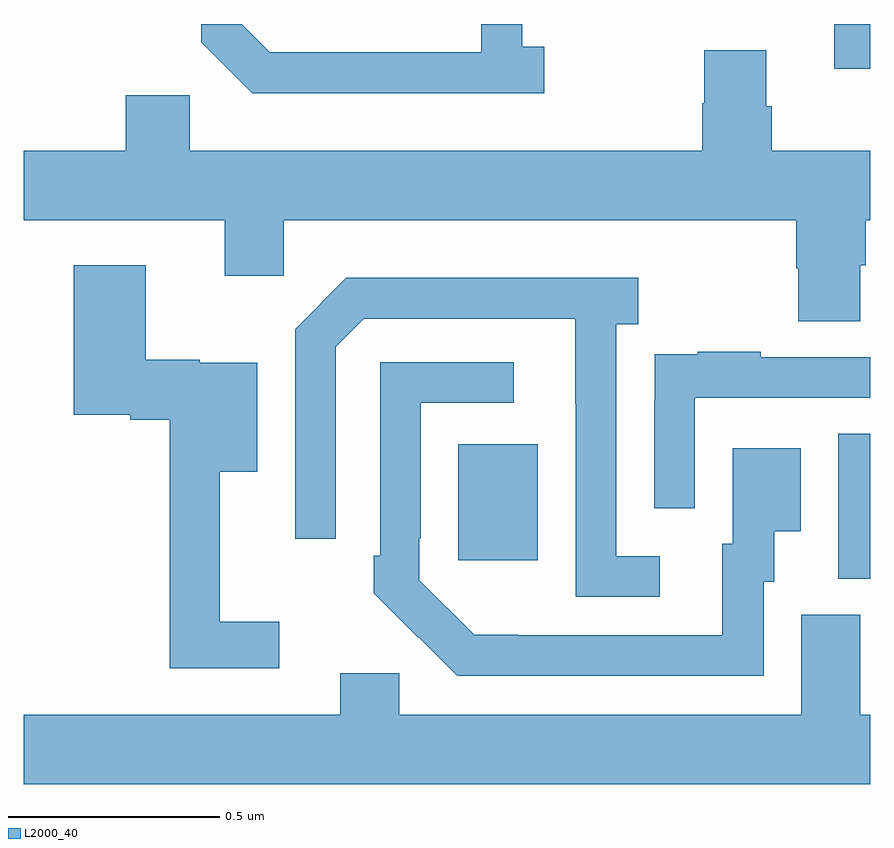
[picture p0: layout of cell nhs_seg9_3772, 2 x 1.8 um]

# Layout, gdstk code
import gdstk
lib = gdstk.Library(unit=1e-6, precision=1e-09)
def R(c, l, rs):  # rectangles x0, y0, x1, y1
    for r in rs: c.add(gdstk.rectangle(r[:2], r[2:], *l))
def P(c, l, *ps):  # polygons
    for p in ps: c.add(gdstk.Polygon(p, *l))
L2000_40 = (2000, 40)

nhs_seg9_3772 = lib.new_cell('nhs_seg9_3772')
R(nhs_seg9_3772, L2000_40, [(158.924,1246.189,159,1246.532), (158.027,1246.233,158.215,1246.507), (158.915,1247.394,159,1247.5)])
P(nhs_seg9_3772, L2000_40, [(158.23,1247.446),(158.178,1247.446),(158.178,1247.5),(158.081,1247.5),(158.081,1247.433),(157.581,1247.433),(157.515,1247.499),(157.515,1247.5),(157.419,1247.5),(157.419,1247.457),(157.54,1247.336),(158.23,1247.336)],
  [(158.977,1246.93),(158.99,1246.93),(158.99,1247.036),(159,1247.036),(159,1247.2),(158.768,1247.2),(158.768,1247.306),(158.755,1247.306),(158.755,1247.438),(158.608,1247.438),(158.608,1247.313),(158.603,1247.313),(158.603,1247.2),(157.392,1247.2),(157.392,1247.332),(157.241,1247.332),(157.241,1247.2),(157,1247.2),(157,1247.036),(157.475,1247.036),(157.475,1246.905),(157.614,1246.905),(157.614,1247.036),(158.825,1247.036),(158.825,1246.923),(158.83,1246.923),(158.83,1246.798),(158.977,1246.798)],
  [(157.603,1246.087),(157.463,1246.087),(157.463,1246.442),(157.552,1246.442),(157.552,1246.699),(157.416,1246.699),(157.416,1246.707),(157.288,1246.707),(157.288,1246.93),(157.118,1246.93),(157.118,1246.577),(157.251,1246.577),(157.251,1246.565),(157.345,1246.565),(157.345,1245.978),(157.603,1245.978)],
  [(158.503,1246.242),(158.4,1246.242),(158.4,1246.79),(158.452,1246.79),(158.452,1246.9),(157.762,1246.9),(157.641,1246.779),(157.641,1246.284),(157.737,1246.284),(157.737,1246.737),(157.803,1246.803),(158.303,1246.803),(158.303,1246.603),(158.304,1246.603),(158.304,1246.146),(158.503,1246.146)],
  [(158.586,1246.617),(159,1246.617),(159,1246.713),(158.741,1246.713),(158.741,1246.726),(158.593,1246.726),(158.593,1246.719),(158.491,1246.719),(158.491,1246.61),(158.49,1246.61),(158.49,1246.356),(158.586,1246.356)],
  [(158.748,1246.182),(158.773,1246.182),(158.773,1246.301),(158.836,1246.301),(158.836,1246.498),(158.675,1246.498),(158.675,1246.272),(158.651,1246.272),(158.651,1246.056),(158.167,1246.056),(158.167,1246.057),(158.064,1246.057),(157.935,1246.185),(157.935,1246.285),(157.938,1246.285),(157.938,1246.605),(158.158,1246.605),(158.158,1246.701),(157.842,1246.701),(157.842,1246.243),(157.827,1246.243),(157.827,1246.155),(157.932,1246.05),(157.933,1246.051),(158.024,1245.96),(158.748,1245.96)],
  [(159,1245.868),(158.977,1245.868),(158.977,1246.104),(158.837,1246.104),(158.837,1245.868),(157.887,1245.868),(157.887,1245.966),(157.748,1245.966),(157.748,1245.868),(157,1245.868),(157,1245.704),(159,1245.704)])

lib.write_gds('nhs_seg9_3772.gds')
